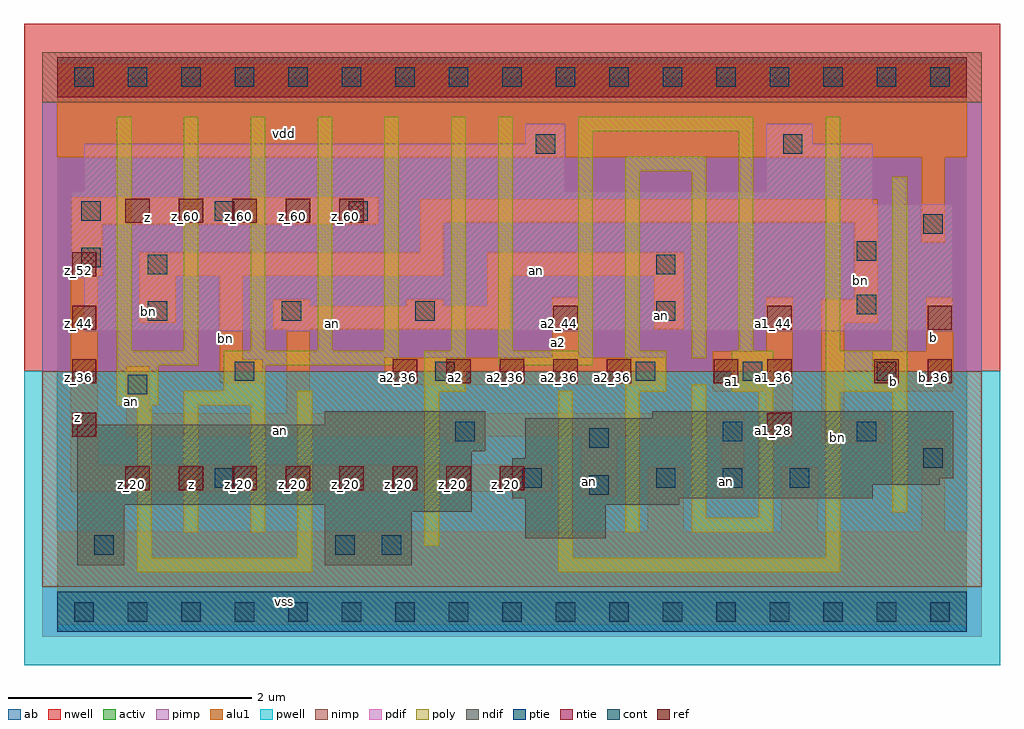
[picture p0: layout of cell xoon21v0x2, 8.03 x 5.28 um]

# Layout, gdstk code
import gdstk
lib = gdstk.Library(unit=1e-6, precision=2.5e-09)
def R(c, l, rs):  # rectangles x0, y0, x1, y1
    for r in rs: c.add(gdstk.rectangle(r[:2], r[2:], *l))
def A(c, l, x, y, w, h, nx, ny, dx, dy):  # array of equal rectangles
    R(c, l, [(x+i*dx, y+j*dy, x+i*dx+w, y+j*dy+h) for i in range(nx) for j in range(ny)])
ndif = (3, 0)
pdif = (4, 0)
ntie = (5, 0)
ptie = (6, 0)
ref = (24, 0)
cont = (25, 0)
pwell = (41, 0)
nwell = (42, 0)
activ = (43, 0)
pimp = (44, 0)
nimp = (45, 0)
poly = (46, 0)
alu1 = (49, 0)
ab = (63, 0)

xoon21v0x2 = lib.new_cell('xoon21v0x2')
R(xoon21v0x2, ndif, [(0.165,0.385,0.55,0.88), (2.2,0.385,2.915,0.825), (3.85,0.605,4.51,0.88), (2.2,0.825,3.41,0.88), (0.165,0.88,3.41,1.32), (3.85,0.88,5.115,0.935), (3.74,0.935,6.71,1.045), (3.74,1.045,7.26,1.1), (3.74,1.1,7.37,1.265), (3.85,1.265,7.37,1.595), (0.165,1.32,3.52,1.54), (2.2,1.54,3.52,1.65), (4.895,1.595,7.37,1.65)])
R(xoon21v0x2, pdif, [(0.22,2.31,7.37,2.75), (0.11,2.75,7.37,3.355), (0.11,3.355,6.71,3.465), (0.22,3.465,4.18,3.85), (5.83,3.465,6.71,3.85), (3.85,3.85,4.18,4.015), (5.83,3.85,6.215,4.015)])
R(xoon21v0x2, ntie, [(0,4.235,7.48,4.565)])
R(xoon21v0x2, ptie, [(0,-0.165,7.48,0.165)])
A(xoon21v0x2, ref, 0.56, 1, 0.2, 0.2, 8, 1, 0.44, 0)
A(xoon21v0x2, ref, 0.12, 1.44, 0.2, 0.2, 1, 4, 0, 0.44)
A(xoon21v0x2, ref, 5.84, 1.44, 0.2, 0.2, 1, 3, 0, 0.44)
A(xoon21v0x2, ref, 2.76, 1.88, 0.2, 0.2, 5, 1, 0.44, 0)
A(xoon21v0x2, ref, 0.56, 3.2, 0.2, 0.2, 5, 1, 0.44, 0)
R(xoon21v0x2, ref, [(5.4,1.88,5.6,2.08), (6.72,1.88,6.92,2.08), (7.16,1.88,7.36,2.08), (4.08,2.32,4.28,2.52), (7.16,2.32,7.36,2.52)])
A(xoon21v0x2, cont, 0.14, -0.08, 0.16, 0.16, 17, 2, 0.44, 4.4)
A(xoon21v0x2, cont, 4.925, 1.02, 0.16, 0.16, 3, 1, 0.55, 0)
A(xoon21v0x2, cont, 1.46, 1.9, 0.16, 0.16, 3, 1, 1.65, 0)
A(xoon21v0x2, cont, 0.745, 2.395, 0.16, 0.16, 3, 1, 1.1, 0)
A(xoon21v0x2, cont, 0.195, 3.22, 0.16, 0.16, 3, 1, 1.1, 0)
R(xoon21v0x2, cont, [(0.305,0.47,0.465,0.63), (2.285,0.47,2.445,0.63), (2.67,0.47,2.83,0.63), (4.375,0.965,4.535,1.125), (1.295,1.02,1.455,1.18), (3.825,1.02,3.985,1.18), (7.125,1.185,7.285,1.345), (4.375,1.35,4.535,1.51), (3.275,1.405,3.435,1.565), (5.475,1.405,5.635,1.565), (6.575,1.405,6.735,1.565), (0.58,1.79,0.74,1.95), (5.64,1.9,5.8,2.06), (6.74,1.9,6.9,2.06), (4.925,2.395,5.085,2.555), (6.575,2.45,6.735,2.61), (0.745,2.78,0.905,2.94), (4.925,2.78,5.085,2.94), (0.195,2.835,0.355,2.995), (6.575,2.89,6.735,3.05), (7.125,3.11,7.285,3.27), (3.935,3.77,4.095,3.93), (5.97,3.77,6.13,3.93)])
R(xoon21v0x2, pwell, [(-0.275,-0.44,7.755,1.98)])
R(xoon21v0x2, nwell, [(-0.275,1.98,7.755,4.84)])
R(xoon21v0x2, activ, [(0,-0.165,7.48,0.165), (0.165,0.385,0.55,0.88), (2.2,0.385,2.915,0.825), (3.85,0.605,4.51,0.88), (2.2,0.825,3.41,0.88), (0.165,0.88,3.41,1.32), (3.85,0.88,5.115,0.935), (3.74,0.935,6.71,1.045), (3.74,1.045,7.26,1.1), (3.74,1.1,7.37,1.265), (3.85,1.265,7.37,1.595), (0.165,1.32,3.52,1.54), (2.2,1.54,3.52,1.65), (4.895,1.595,7.37,1.65), (0.22,2.31,7.37,2.75), (0.11,2.75,7.37,3.355), (0.11,3.355,6.71,3.465), (0.22,3.465,4.18,3.85), (5.83,3.465,6.71,3.85), (3.85,3.85,4.18,4.015), (5.83,3.85,6.215,4.015), (0,4.235,7.48,4.565)])
R(xoon21v0x2, pimp, [(-0.125,-0.205,7.605,0.205), (-0.125,1.98,7.605,4.195)])
R(xoon21v0x2, nimp, [(-0.125,0.205,7.605,1.98), (-0.125,4.195,7.605,4.605)])
A(xoon21v0x2, poly, 0.49, 2.15, 0.12, 1.925, 6, 1, 0.55, 0)
R(xoon21v0x2, poly, [(0.655,0.325,2.095,0.445), (4.12,0.325,6.44,0.445), (0.655,0.445,0.775,1.7), (1.975,0.445,2.095,1.82), (4.12,0.445,4.24,1.82), (6.32,0.445,6.44,1.81), (3.02,0.545,3.14,1.81), (1.04,0.655,1.16,1.7), (1.59,0.655,1.71,1.7), (4.67,0.655,4.79,1.81), (5.22,0.655,5.89,0.775), (5.22,0.775,5.34,1.875), (5.77,0.775,5.89,1.81), (6.87,0.82,6.99,1.81), (0.49,1.7,0.83,2.03), (1.04,1.7,1.71,1.82), (3.02,1.81,3.36,2.15), (4.67,1.81,5.01,2.15), (5.55,1.81,5.89,2.15), (6.32,1.81,6.99,2.15), (1.37,1.82,1.71,2.03), (0.49,2.03,1.16,2.15), (1.37,2.03,2.81,2.15), (3.625,2.03,4.405,2.15), (5.22,2.085,5.34,3.625), (3.625,2.15,3.745,4.075), (4.285,2.15,4.405,3.955), (4.67,2.15,4.79,3.625), (5.605,2.15,5.725,3.955), (6.32,2.15,6.44,4.075), (6.87,2.15,6.99,3.58), (4.67,3.625,5.34,3.745), (4.285,3.955,5.725,4.075)])
R(xoon21v0x2, alu1, [(0,-0.11,7.48,0.66), (4.855,0.66,5.155,1.195), (5.955,0.66,6.255,1.195), (7.11,0.66,7.3,1.415), (4.305,0.95,4.605,1.445), (5.46,0.95,5.65,1.445), (0.11,0.99,4.07,1.21), (0.11,1.21,0.33,2.765), (5.83,1.375,6.05,1.815), (3.205,1.39,3.505,1.445), (6.285,1.39,6.805,1.58), (0.565,1.445,5.65,1.635), (6.285,1.58,6.475,2.38), (0.565,1.635,0.755,2.02), (1.885,1.635,2.075,2.325), (5.39,1.815,6.05,2.145), (6.71,1.815,7.37,2.145), (2.695,1.87,5.005,2.09), (1.335,1.885,1.69,2.075), (1.335,2.075,1.525,2.765), (4.07,2.09,4.29,2.585), (5.83,2.145,6.05,2.585), (7.15,2.145,7.37,2.585), (1.775,2.325,3.725,2.515), (4.91,2.325,5.155,2.765), (0.675,2.38,0.975,2.765), (6.285,2.38,6.75,2.57), (1.775,2.515,2.075,2.57), (2.875,2.515,3.175,2.57), (3.535,2.515,3.725,2.765), (6.56,2.57,6.75,3.205), (0.11,2.765,0.37,3.19), (0.675,2.765,3.175,2.955), (3.535,2.765,5.155,2.955), (2.985,2.955,3.175,3.205), (7.11,3.04,7.3,3.74), (0.11,3.19,2.64,3.41), (2.985,3.205,6.75,3.395), (0,3.74,7.48,4.51)])
R(xoon21v0x2, ab, [(0,0,7.48,4.4)])
xoon21v0x2.add(gdstk.Label('vss', (1.87,0.0825), layer=49, texttype=0))
xoon21v0x2.add(gdstk.Label('bn', (6.415,1.4375), layer=49, texttype=0))
xoon21v0x2.add(gdstk.Label('b', (6.875,1.8975), layer=49, texttype=0))
xoon21v0x2.add(gdstk.Label('b', (7.205,2.255), layer=49, texttype=0))
xoon21v0x2.add(gdstk.Label('an', (5.5075,1.0725), layer=49, texttype=0))
xoon21v0x2.add(gdstk.Label('an', (4.38,1.0725), layer=49, texttype=0))
xoon21v0x2.add(gdstk.Label('z', (1.1,1.045), layer=49, texttype=0))
xoon21v0x2.add(gdstk.Label('an', (1.835,1.4925), layer=49, texttype=0))
xoon21v0x2.add(gdstk.Label('a1', (5.555,1.8975), layer=49, texttype=0))
xoon21v0x2.add(gdstk.Label('a2', (3.2725,1.925), layer=49, texttype=0))
xoon21v0x2.add(gdstk.Label('bn', (6.6075,2.7275), layer=49, texttype=0))
xoon21v0x2.add(gdstk.Label('an', (4.97,2.435), layer=49, texttype=0))
xoon21v0x2.add(gdstk.Label('a2', (4.125,2.2125), layer=49, texttype=0))
xoon21v0x2.add(gdstk.Label('an', (0.6125,1.73), layer=49, texttype=0))
xoon21v0x2.add(gdstk.Label('an', (2.2625,2.3725), layer=49, texttype=0))
xoon21v0x2.add(gdstk.Label('bn', (1.3825,2.2475), layer=49, texttype=0))
xoon21v0x2.add(gdstk.Label('bn', (0.75,2.475), layer=49, texttype=0))
xoon21v0x2.add(gdstk.Label('z', (0.165,1.5975), layer=49, texttype=0))
xoon21v0x2.add(gdstk.Label('an', (3.94,2.8125), layer=49, texttype=0))
xoon21v0x2.add(gdstk.Label('z', (0.7425,3.245), layer=49, texttype=0))
xoon21v0x2.add(gdstk.Label('vdd', (1.87,3.9325), layer=49, texttype=0))
xoon21v0x2.add(gdstk.Label('a2_36', (4.57,1.93), layer=24, texttype=0))
xoon21v0x2.add(gdstk.Label('a2_44', (4.13,2.37), layer=24, texttype=0))
xoon21v0x2.add(gdstk.Label('a2_36', (4.13,1.93), layer=24, texttype=0))
xoon21v0x2.add(gdstk.Label('a2_36', (3.69,1.93), layer=24, texttype=0))
xoon21v0x2.add(gdstk.Label('z_20', (3.69,1.05), layer=24, texttype=0))
xoon21v0x2.add(gdstk.Label('a2_36', (3.25,1.93), layer=24, texttype=0))
xoon21v0x2.add(gdstk.Label('z_20', (3.25,1.05), layer=24, texttype=0))
xoon21v0x2.add(gdstk.Label('a2_36', (2.81,1.93), layer=24, texttype=0))
xoon21v0x2.add(gdstk.Label('z_20', (2.81,1.05), layer=24, texttype=0))
xoon21v0x2.add(gdstk.Label('z_60', (2.37,3.25), layer=24, texttype=0))
xoon21v0x2.add(gdstk.Label('z_20', (2.37,1.05), layer=24, texttype=0))
xoon21v0x2.add(gdstk.Label('z_52', (0.17,2.81), layer=24, texttype=0))
xoon21v0x2.add(gdstk.Label('z_44', (0.17,2.37), layer=24, texttype=0))
xoon21v0x2.add(gdstk.Label('z_36', (0.17,1.93), layer=24, texttype=0))
xoon21v0x2.add(gdstk.Label('z_28', (0.17,1.49), layer=24, texttype=0))
xoon21v0x2.add(gdstk.Label('z_60', (1.93,3.25), layer=24, texttype=0))
xoon21v0x2.add(gdstk.Label('z_20', (1.93,1.05), layer=24, texttype=0))
xoon21v0x2.add(gdstk.Label('z_60', (1.49,3.25), layer=24, texttype=0))
xoon21v0x2.add(gdstk.Label('z_20', (1.49,1.05), layer=24, texttype=0))
xoon21v0x2.add(gdstk.Label('z_60', (1.05,3.25), layer=24, texttype=0))
xoon21v0x2.add(gdstk.Label('z_20', (1.05,1.05), layer=24, texttype=0))
xoon21v0x2.add(gdstk.Label('b_44', (7.21,2.37), layer=24, texttype=0))
xoon21v0x2.add(gdstk.Label('b_36', (7.21,1.93), layer=24, texttype=0))
xoon21v0x2.add(gdstk.Label('b_36', (6.77,1.93), layer=24, texttype=0))
xoon21v0x2.add(gdstk.Label('z_60', (0.61,3.25), layer=24, texttype=0))
xoon21v0x2.add(gdstk.Label('z_20', (0.61,1.05), layer=24, texttype=0))
xoon21v0x2.add(gdstk.Label('a1_44', (5.89,2.37), layer=24, texttype=0))
xoon21v0x2.add(gdstk.Label('a1_36', (5.89,1.93), layer=24, texttype=0))
xoon21v0x2.add(gdstk.Label('a1_28', (5.89,1.49), layer=24, texttype=0))
xoon21v0x2.add(gdstk.Label('a1_36', (5.45,1.93), layer=24, texttype=0))

lib.write_gds('xoon21v0x2.gds')
